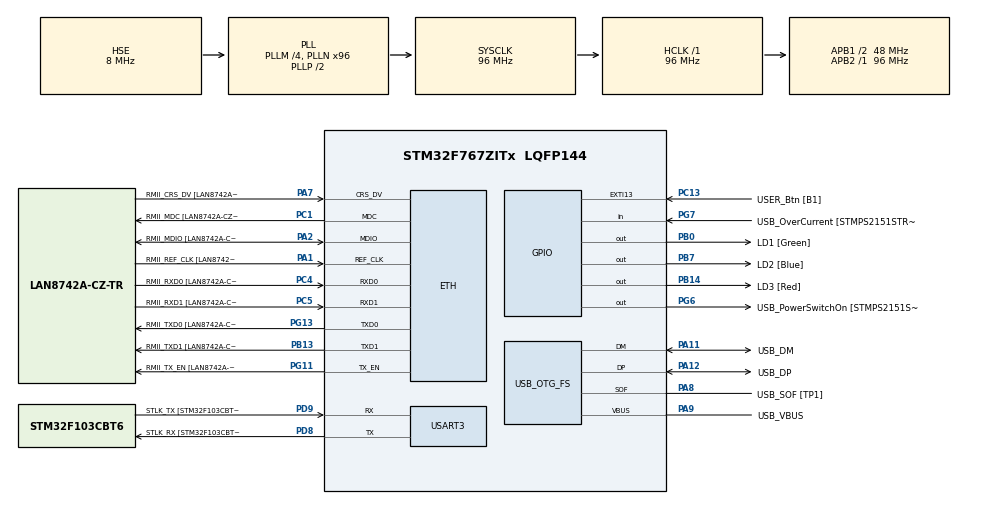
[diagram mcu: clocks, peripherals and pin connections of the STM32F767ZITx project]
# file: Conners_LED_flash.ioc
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ETH.MediaInterface=HAL_ETH_RMII_MODE
ETH.PHY_Name=LAN8742A_PHY_ADDRESS
ETH.PHY_Value=0
ETH.PhyAddress=0
LWIP.BSP.number=1
LWIP.GATEWAY_ADDRESS=192.168.001.001
LWIP.HTTPD_USE_CUSTOM_FSDATA=1
LWIP.IP_ADDRESS=192.168.000.055
LWIP.LWIP_DHCP=1
LWIP.LWIP_HTTPD=1
LWIP.LWIP_HTTPD_CGI=1
LWIP.LWIP_HTTPD_MAX_TAG_NAME_LEN=16
LWIP.LWIP_HTTPD_SSI=1
LWIP.NETMASK_ADDRESS=255.255.255.000
LWIP.Version=v2.1.2_Cube
LWIP0.BSP.STBoard=false
LWIP0.BSP.api=BSP_COMPONENT_DRIVER
LWIP0.BSP.component=LAN8742
LWIP0.BSP.instance=LAN8742
LWIP0.BSP.name=Driver_PHY
LWIP0.BSP.semaphore=S_LAN8742
LWIP0.BSP.solution=LAN8742
Mcu.Family=STM32F7
Mcu.Name=STM32F767ZITx
Mcu.Package=LQFP144
NVIC.PriorityGroup=NVIC_PRIORITYGROUP_4
PA1.GPIO_Label=RMII_REF_CLK [LAN8742A-CZ-TR_REFCLK0]
PA1.Mode=RMII
PA1.Signal=ETH_REF_CLK
PA10.GPIO_Label=USB_ID
PA10.Signal=USB_OTG_FS_ID
PA11.GPIO_Label=USB_DM
PA11.Mode=Device_Only
PA11.Signal=USB_OTG_FS_DM
PA12.GPIO_Label=USB_DP
PA12.Mode=Device_Only
PA12.Signal=USB_OTG_FS_DP
PA13.GPIO_Label=TMS
PA13.Mode=Serial_Wire
PA13.Signal=SYS_JTMS-SWDIO
PA14.GPIO_Label=TCK
PA14.Mode=Serial_Wire
PA14.Signal=SYS_JTCK-SWCLK
PA2.GPIO_Label=RMII_MDIO [LAN8742A-CZ-TR_MDIO]
PA2.Mode=RMII
PA2.Signal=ETH_MDIO
PA7.GPIO_Label=RMII_CRS_DV [LAN8742A-CZ-TR_CRS_DV]
PA7.Mode=RMII
PA7.Signal=ETH_CRS_DV
PA8.GPIO_Label=USB_SOF [TP1]
PA8.Mode=Activate_SOF_FS
PA8.Signal=USB_OTG_FS_SOF
PA9.GPIO_Label=USB_VBUS
PA9.Mode=Activate_VBUS
PA9.Signal=USB_OTG_FS_VBUS
PB0.GPIO_Label=LD1 [Green]
PB0.Signal=GPIO_Output
PB13.GPIO_Label=RMII_TXD1 [LAN8742A-CZ-TR_TXD1]
PB13.Mode=RMII
PB13.Signal=ETH_TXD1
PB14.GPIO_Label=LD3 [Red]
PB14.GPIO_PuPd=GPIO_PULLUP
PB14.Signal=GPIO_Output
PB3.GPIO_Label=SWO
PB3.Signal=SYS_JTDO-SWO
PB7.GPIO_Label=LD2 [Blue]
PB7.GPIO_PuPd=GPIO_PULLUP
PB7.Signal=GPIO_Output
PC1.GPIO_Label=RMII_MDC [LAN8742A-CZ-TR_MDC]
PC1.Mode=RMII
PC1.Signal=ETH_MDC
PC13.GPIO_Label=USER_Btn [B1]
PC13.Signal=GPXTI13
PC14/OSC32_IN.Mode=LSE-External-Oscillator
PC14/OSC32_IN.Signal=RCC_OSC32_IN
PC15/OSC32_OUT.Mode=LSE-External-Oscillator
PC15/OSC32_OUT.Signal=RCC_OSC32_OUT
PC4.GPIO_Label=RMII_RXD0 [LAN8742A-CZ-TR_RXD0]
PC4.Mode=RMII
PC4.Signal=ETH_RXD0
PC5.GPIO_Label=RMII_RXD1 [LAN8742A-CZ-TR_RXD1]
PC5.Mode=RMII
PC5.Signal=ETH_RXD1
PD8.GPIO_Label=STLK_RX [STM32F103CBT6_PA3]
PD8.Mode=Asynchronous
PD8.Signal=USART3_TX
PD9.GPIO_Label=STLK_TX [STM32F103CBT6_PA2]
PD9.Mode=Asynchronous
PD9.Signal=USART3_RX
PG11.GPIO_Label=RMII_TX_EN [LAN8742A-CZ-TR_TXEN]
PG11.Mode=RMII
PG11.Signal=ETH_TX_EN
PG13.GPIO_Label=RMII_TXD0 [LAN8742A-CZ-TR_TXD0]
PG13.Mode=RMII
PG13.Signal=ETH_TXD0
PG6.GPIO_Label=USB_PowerSwitchOn [STMPS2151STR_EN]
PG6.Signal=GPIO_Output
PG7.GPIO_Label=USB_OverCurrent [STMPS2151STR_FAULT]
PG7.Signal=GPIO_Input
PH0/OSC_IN.GPIO_Label=MCO [STM32F103CBT6_PA8]
PH0/OSC_IN.Mode=HSE-External-Clock-Source
PH0/OSC_IN.Signal=RCC_OSC_IN
PH1/OSC_OUT.Mode=HSE-External-Clock-Source
PH1/OSC_OUT.Signal=RCC_OSC_OUT
ProjectManager.HeapSize=0x200
ProjectManager.StackSize=0x400
ProjectManager.TargetToolchain=STM32CubeIDE
RCC.48MHZClocksFreq_Value=24000000
RCC.AHBFreq_Value=96000000
RCC.APB1CLKDivider=RCC_HCLK_DIV2
RCC.APB1Freq_Value=48000000
RCC.APB1TimFreq_Value=96000000
RCC.APB2Freq_Value=96000000
RCC.APB2TimFreq_Value=96000000
RCC.CortexFreq_Value=96000000
RCC.HCLKFreq_Value=96000000
RCC.HSE_VALUE=8000000
RCC.HSI_VALUE=16000000
RCC.PLLM=4
RCC.PLLMUL=RCC_PLL_MUL9
RCC.PLLN=96
RCC.PLLQ=4
RCC.PRESCALERUSB=RCC_USBCLKSOURCE_PLL_DIV1_5
RCC.SYSCLKFreq_VALUE=96000000
RCC.SYSCLKSource=RCC_SYSCLKSOURCE_PLLCLK
RCC.SYSCLKSourceVirtual=RCC_SYSCLKSOURCE_PLLCLK
RCC.USBFreq_Value=48000000
RCC.VCOOutputFreq_Value=192000000
USART3.VirtualMode-Asynchronous=VM_ASYNC
USB_OTG_FS.VirtualMode=Device_Only
VP_LWIP_VS_Enabled.Mode=Enabled
board=NUCLEO-F767ZI

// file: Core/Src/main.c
/* USER CODE BEGIN Header */
/**
  ******************************************************************************
  * @file           : main.c
  * @brief          : Main program body
  ******************************************************************************
  * @attention
  *
  * Copyright (c) 2024 STMicroelectronics.
  * All rights reserved.
  *
  * This software is licensed under terms that can be found in the LICENSE file
  * in the root directory of this software component.
  * If no LICENSE file comes with this software, it is provided AS-IS.
  *
  ******************************************************************************
  */
/* USER CODE END Header */
#include "main.h"
#include "lwip.h"

/* USER CODE BEGIN Includes */
#include "lwip/apps/httpd.h"
#include <String.h>

/* USER CODE END Includes */

UART_HandleTypeDef huart3;

PCD_HandleTypeDef hpcd_USB_OTG_FS;

/* USER CODE BEGIN PV */
//static GPIO_InitTypeDef GPIO_InitStruct;

//Declaring function
const char * LedCGIhandler(int iIndex, int iNumParams, char *pcParam[], char *pcValue[]);

//struct that contains the name of LED CGI and corresponding handler

const tCGI LedCGI = {"/leds.cgi", LedCGIhandler};

//table of the cgi names and handlers

tCGI theCGItable[1];

/* USER CODE END PV */

void SystemClock_Config(void);
static void MX_GPIO_Init(void);
static void MX_USART3_UART_Init(void);
static void MX_USB_OTG_FS_PCD_Init(void);

/* USER CODE BEGIN 0 */
// the function pointer for a CGI script handler is defined in httpd.h as tCGIHandler

const char* LedCGIhandler(int iIndex, int iNumParams, char *pcParam[], char *pcValue[])
{
	uint32_t i = 0;

	if (iIndex == 0)
	{
		//turn off LEDs
		HAL_GPIO_WritePin(LD3_GPIO_Port, LD2_Pin, GPIO_PIN_RESET);
		HAL_GPIO_WritePin(LD3_GPIO_Port, LD3_Pin, GPIO_PIN_RESET);

		//Check CGI Parameters

		for (i = 0; i<iNumParams; i++)
		{
			// if pcParameter contains led, one of check boxes is set on
			if (strcmp(pcParam[i], "led" ) == 0)
			{
				//see if LED 1 has been sent
				if(strcmp(pcValue[i], "1") == 0)
				{
					//switch led 1 on
					HAL_GPIO_WritePin(LD2_GPIO_Port, LD2_Pin, GPIO_PIN_SET);
				}
				//see if LED 2 has been sent
				else if(strcmp(pcValue[i], "2") == 0)
				{
					//switch led 2 on
					HAL_GPIO_WritePin(LD3_GPIO_Port, LD3_Pin, GPIO_PIN_SET);
				}
			}
		}
	}
	//path and file name of response
	return "/index.html";
}

void myCGIinit(void)
{
	//adding led control to cgi table
	theCGItable[0] = LedCGI;

	//giving table to the http server
	http_set_cgi_handlers(theCGItable, 1);
}

/* USER CODE END 0 */

int main(void)
{

  /* MCU Configuration--------------------------------------------------------*/

  /* Reset of all peripherals, Initializes the Flash interface and the Systick. */
  HAL_Init();

  /* Configure the system clock */
  SystemClock_Config();

  /* Initialize all configured peripherals */
  MX_GPIO_Init();
  MX_USART3_UART_Init();
  MX_USB_OTG_FS_PCD_Init();
  MX_LWIP_Init();
  /* USER CODE BEGIN 2 */
  httpd_init();
  myCGIinit();
 /*
  //blue LED setup
  GPIO_InitStruct.Pin = LD2_Pin;
  GPIO_InitStruct.Mode = GPIO_MODE_OUTPUT_PP;
  GPIO_InitStruct.Pull = GPIO_PULLUP;
  GPIO_InitStruct.Speed = GPIO_SPEED_FAST;
  HAL_GPIO_Init(LD2_GPIO_Port, &GPIO_InitStruct);

  //red LED setup
  GPIO_InitStruct.Pin = LD3_Pin;
  GPIO_InitStruct.Mode = GPIO_MODE_OUTPUT_PP;
  GPIO_InitStruct.Pull = GPIO_PULLUP;
  GPIO_InitStruct.Speed = GPIO_SPEED_FAST;
  HAL_GPIO_Init(LD3_GPIO_Port, &GPIO_InitStruct);
  */
  /* USER CODE END 2 */

  /* Infinite loop */
  /* USER CODE BEGIN WHILE */

  while (1)
  {
	  MX_LWIP_Process();
	 // httpd_init();
	  //myCGIinit();
    /* USER CODE END WHILE */

  }
}

void SystemClock_Config(void)
{
  RCC_OscInitTypeDef RCC_OscInitStruct = {0};
  RCC_ClkInitTypeDef RCC_ClkInitStruct = {0};

  /** Configure LSE Drive Capability
  */
  HAL_PWR_EnableBkUpAccess();

  /** Configure the main internal regulator output voltage
  */
  __HAL_RCC_PWR_CLK_ENABLE();
  __HAL_PWR_VOLTAGESCALING_CONFIG(PWR_REGULATOR_VOLTAGE_SCALE3);

  /** Initializes the RCC Oscillators according to the specified parameters
  * in the RCC_OscInitTypeDef structure.
  */
  RCC_OscInitStruct.OscillatorType = RCC_OSCILLATORTYPE_HSE;
  RCC_OscInitStruct.HSEState = RCC_HSE_BYPASS;
  RCC_OscInitStruct.PLL.PLLState = RCC_PLL_ON;
  RCC_OscInitStruct.PLL.PLLSource = RCC_PLLSOURCE_HSE;
  RCC_OscInitStruct.PLL.PLLM = 4;
  RCC_OscInitStruct.PLL.PLLN = 96;
  RCC_OscInitStruct.PLL.PLLP = RCC_PLLP_DIV2;
  RCC_OscInitStruct.PLL.PLLQ = 4;
  RCC_OscInitStruct.PLL.PLLR = 2;
  if (HAL_RCC_OscConfig(&RCC_OscInitStruct) != HAL_OK)
  {
    Error_Handler();
  }

  /** Activate the Over-Drive mode
  */
  if (HAL_PWREx_EnableOverDrive() != HAL_OK)
  {
    Error_Handler();
  }

  /** Initializes the CPU, AHB and APB buses clocks
  */
  RCC_ClkInitStruct.ClockType = RCC_CLOCKTYPE_HCLK|RCC_CLOCKTYPE_SYSCLK
                              |RCC_CLOCKTYPE_PCLK1|RCC_CLOCKTYPE_PCLK2;
  RCC_ClkInitStruct.SYSCLKSource = RCC_SYSCLKSOURCE_PLLCLK;
  RCC_ClkInitStruct.AHBCLKDivider = RCC_SYSCLK_DIV1;
  RCC_ClkInitStruct.APB1CLKDivider = RCC_HCLK_DIV2;
  RCC_ClkInitStruct.APB2CLKDivider = RCC_HCLK_DIV1;

  if (HAL_RCC_ClockConfig(&RCC_ClkInitStruct, FLASH_LATENCY_3) != HAL_OK)
  {
    Error_Handler();
  }
}

static void MX_USART3_UART_Init(void)
{

  huart3.Instance = USART3;
  huart3.Init.BaudRate = 115200;
  huart3.Init.WordLength = UART_WORDLENGTH_8B;
  huart3.Init.StopBits = UART_STOPBITS_1;
  huart3.Init.Parity = UART_PARITY_NONE;
  huart3.Init.Mode = UART_MODE_TX_RX;
  huart3.Init.HwFlowCtl = UART_HWCONTROL_NONE;
  huart3.Init.OverSampling = UART_OVERSAMPLING_16;
  huart3.Init.OneBitSampling = UART_ONE_BIT_SAMPLE_DISABLE;
  huart3.AdvancedInit.AdvFeatureInit = UART_ADVFEATURE_NO_INIT;
  if (HAL_UART_Init(&huart3) != HAL_OK)
  {
    Error_Handler();
  }

}

static void MX_USB_OTG_FS_PCD_Init(void)
{

  hpcd_USB_OTG_FS.Instance = USB_OTG_FS;
  hpcd_USB_OTG_FS.Init.dev_endpoints = 6;
  hpcd_USB_OTG_FS.Init.speed = PCD_SPEED_FULL;
  hpcd_USB_OTG_FS.Init.dma_enable = DISABLE;
  hpcd_USB_OTG_FS.Init.phy_itface = PCD_PHY_EMBEDDED;
  hpcd_USB_OTG_FS.Init.Sof_enable = ENABLE;
  hpcd_USB_OTG_FS.Init.low_power_enable = DISABLE;
  hpcd_USB_OTG_FS.Init.lpm_enable = DISABLE;
  hpcd_USB_OTG_FS.Init.vbus_sensing_enable = ENABLE;
  hpcd_USB_OTG_FS.Init.use_dedicated_ep1 = DISABLE;
  if (HAL_PCD_Init(&hpcd_USB_OTG_FS) != HAL_OK)
  {
    Error_Handler();
  }

}

static void MX_GPIO_Init(void)
{
  GPIO_InitTypeDef GPIO_InitStruct = {0};

  /* GPIO Ports Clock Enable */
  __HAL_RCC_GPIOC_CLK_ENABLE();
  __HAL_RCC_GPIOH_CLK_ENABLE();
  __HAL_RCC_GPIOA_CLK_ENABLE();
  __HAL_RCC_GPIOB_CLK_ENABLE();
  __HAL_RCC_GPIOD_CLK_ENABLE();
  __HAL_RCC_GPIOG_CLK_ENABLE();

  /*Configure GPIO pin Output Level */
  HAL_GPIO_WritePin(GPIOB, LD1_Pin|LD3_Pin|LD2_Pin, GPIO_PIN_RESET);

  /*Configure GPIO pin Output Level */
  HAL_GPIO_WritePin(USB_PowerSwitchOn_GPIO_Port, USB_PowerSwitchOn_Pin, GPIO_PIN_RESET);

  /*Configure GPIO pin : USER_Btn_Pin */
  GPIO_InitStruct.Pin = USER_Btn_Pin;
  GPIO_InitStruct.Mode = GPIO_MODE_IT_RISING;
  GPIO_InitStruct.Pull = GPIO_NOPULL;
  HAL_GPIO_Init(USER_Btn_GPIO_Port, &GPIO_InitStruct);

  /*Configure GPIO pin : LD1_Pin */
  GPIO_InitStruct.Pin = LD1_Pin;
  GPIO_InitStruct.Mode = GPIO_MODE_OUTPUT_PP;
  GPIO_InitStruct.Pull = GPIO_NOPULL;
  GPIO_InitStruct.Speed = GPIO_SPEED_FREQ_LOW;
  HAL_GPIO_Init(LD1_GPIO_Port, &GPIO_InitStruct);

  /*Configure GPIO pins : LD3_Pin LD2_Pin */
  GPIO_InitStruct.Pin = LD3_Pin|LD2_Pin;
  GPIO_InitStruct.Mode = GPIO_MODE_OUTPUT_PP;
  GPIO_InitStruct.Pull = GPIO_PULLUP;
  GPIO_InitStruct.Speed = GPIO_SPEED_FREQ_LOW;
  HAL_GPIO_Init(GPIOB, &GPIO_InitStruct);

  /*Configure GPIO pin : USB_PowerSwitchOn_Pin */
  GPIO_InitStruct.Pin = USB_PowerSwitchOn_Pin;
  GPIO_InitStruct.Mode = GPIO_MODE_OUTPUT_PP;
  GPIO_InitStruct.Pull = GPIO_NOPULL;
  GPIO_InitStruct.Speed = GPIO_SPEED_FREQ_LOW;
  HAL_GPIO_Init(USB_PowerSwitchOn_GPIO_Port, &GPIO_InitStruct);

  /*Configure GPIO pin : USB_OverCurrent_Pin */
  GPIO_InitStruct.Pin = USB_OverCurrent_Pin;
  GPIO_InitStruct.Mode = GPIO_MODE_INPUT;
  GPIO_InitStruct.Pull = GPIO_NOPULL;
  HAL_GPIO_Init(USB_OverCurrent_GPIO_Port, &GPIO_InitStruct);

}

void Error_Handler(void)
{
  __disable_irq();
  while (1)
  {
  }
}
